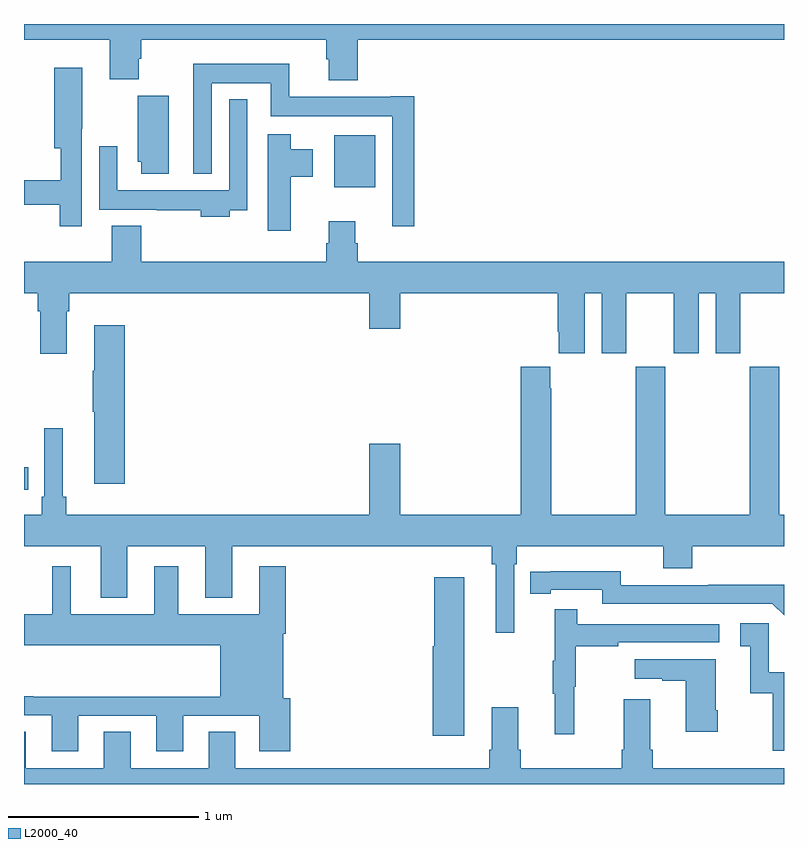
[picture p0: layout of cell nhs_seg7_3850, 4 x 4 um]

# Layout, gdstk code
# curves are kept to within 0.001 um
import gdstk
lib = gdstk.Library(unit=1e-6, precision=1e-09)
def R(c, l, rs):  # rectangles x0, y0, x1, y1
    for r in rs: c.add(gdstk.rectangle(r[:2], r[2:], *l))
def P(c, l, *ps):  # polygons
    for p in ps: c.add(gdstk.Polygon(p, *l))
L2000_40 = (2000, 40)

nhs_seg7_3850 = lib.new_cell('nhs_seg7_3850')
R(nhs_seg7_3850, L2000_40, [(355,1031.55,355.022,1031.666), (356.633,1033.142,356.848,1033.414)])
P(nhs_seg7_3850, L2000_40, [(356.756,1033.916),(359,1033.916),(359,1034),(355,1034),(355,1033.916),(355.451,1033.916),(355.451,1033.708),(355.603,1033.708),(355.603,1033.817),(355.616,1033.817),(355.616,1033.916),(356.591,1033.916),(356.591,1033.815),(356.603,1033.815),(356.603,1033.703),(356.756,1033.703)],
  [(357.053,1033.621),(356.93,1033.621),(356.93,1033.618),(356.396,1033.618),(356.396,1033.792),(355.892,1033.792),(355.892,1033.211),(355.989,1033.211),(355.989,1033.688),(356.298,1033.688),(356.298,1033.514),(356.937,1033.514),(356.937,1032.936),(357.053,1032.936)],
  [(355.305,1033.45),(355.306,1033.45),(355.306,1033.771),(355.16,1033.771),(355.16,1033.346),(355.193,1033.346),(355.193,1033.178),(355,1033.178),(355,1033.05),(355.189,1033.05),(355.189,1032.936),(355.305,1032.936)],
  [(355.762,1033.623),(355.598,1033.623),(355.598,1033.275),(355.616,1033.275),(355.616,1033.212),(355.762,1033.212)],
  [(356.083,1033.02),(356.175,1033.02),(356.175,1033.603),(356.079,1033.603),(356.079,1033.126),(355.491,1033.126),(355.491,1033.357),(355.395,1033.357),(355.395,1033.022),(355.699,1033.022),(355.699,1033.02),(355.931,1033.02),(355.931,1032.986),(356.083,1032.986)],
  [(356.404,1033.195),(356.521,1033.195),(356.521,1033.342),(356.404,1033.342),(356.404,1033.42),(356.282,1033.42),(356.282,1032.912),(356.404,1032.912)],
  [(355,1032.584),(355.073,1032.584),(355.073,1032.488),(355.085,1032.488),(355.085,1032.264),(355.225,1032.264),(355.225,1032.488),(355.238,1032.488),(355.238,1032.584),(356.816,1032.584),(356.816,1032.396),(356.98,1032.396),(356.98,1032.584),(357.809,1032.584),(357.809,1032.379),(357.815,1032.379),(357.815,1032.267),(357.952,1032.267),(357.952,1032.584),(358.04,1032.584),(358.04,1032.267),(358.171,1032.267),(358.171,1032.584),(358.421,1032.584),(358.421,1032.267),(358.552,1032.267),(358.552,1032.584),(358.64,1032.584),(358.64,1032.267),(358.771,1032.267),(358.771,1032.584),(359,1032.584),(359,1032.748),(356.756,1032.748),(356.756,1032.846),(356.743,1032.846),(356.743,1032.961),(356.603,1032.961),(356.603,1032.846),(356.591,1032.846),(356.591,1032.748),(355.616,1032.748),(355.616,1032.937),(355.463,1032.937),(355.463,1032.748),(355,1032.748)],
  [(355.529,1032.415),(355.37,1032.415),(355.37,1032.176),(355.363,1032.176),(355.363,1031.959),(355.37,1031.959),(355.37,1031.58),(355.529,1031.58)],
  [(357.579,1031.156),(357.593,1031.156),(357.593,1031.252),(358.364,1031.252),(358.364,1031.135),(358.517,1031.135),(358.517,1031.252),(359,1031.252),(359,1031.416),(358.974,1031.416),(358.974,1032.196),(358.819,1032.196),(358.819,1031.416),(358.374,1031.416),(358.374,1032.196),(358.219,1032.196),(358.219,1031.416),(357.774,1031.416),(357.774,1032.083),(357.769,1032.083),(357.769,1032.196),(357.614,1032.196),(357.614,1031.416),(356.98,1031.416),(356.98,1031.791),(356.816,1031.791),(356.816,1031.416),(355.223,1031.416),(355.223,1031.512),(355.204,1031.512),(355.204,1031.872),(355.107,1031.872),(355.107,1031.512),(355.094,1031.512),(355.094,1031.416),(355,1031.416),(355,1031.252),(355.403,1031.252),(355.403,1030.979),(355.543,1030.979),(355.543,1031.252),(355.955,1031.252),(355.955,1030.979),(356.095,1030.979),(356.095,1031.252),(357.463,1031.252),(357.463,1031.156),(357.482,1031.156),(357.482,1030.797),(357.579,1030.797)],
  [(355.285,1030.359),(355.697,1030.359),(355.697,1030.173),(355.837,1030.173),(355.837,1030.359),(356.237,1030.359),(356.237,1030.173),(356.402,1030.173),(356.402,1030.452),(356.365,1030.452),(356.365,1030.79),(356.378,1030.79),(356.378,1031.146),(356.237,1031.146),(356.237,1030.894),(355.813,1030.894),(355.813,1031.146),(355.685,1031.146),(355.685,1030.894),(355.246,1030.894),(355.246,1031.146),(355.148,1031.146),(355.148,1030.894),(355,1030.894),(355,1030.73),(356.033,1030.73),(356.033,1030.46),(355.049,1030.46),(355.049,1030.463),(355,1030.463),(355,1030.362),(355.145,1030.362),(355.145,1030.173),(355.285,1030.173)],
  [(359,1031.048),(358.6,1031.048),(358.6,1031.046),(358.14,1031.046),(358.14,1031.119),(357.664,1031.118),(357.664,1031.002),(357.772,1031.002),(357.772,1031.022),(358.044,1031.022),(358.044,1030.95),(358.938,1030.95),(359,1030.888)],
  [(357.316,1031.089),(357.158,1031.089),(357.158,1030.725),(357.152,1030.725),(357.152,1030.254),(357.316,1030.254)],
  [(357.896,1030.512),(357.904,1030.512),(357.904,1030.726),(358.127,1030.726),(358.127,1030.746),(358.66,1030.746),(358.66,1030.842),(357.911,1030.842),(357.911,1030.921),(357.794,1030.921),(357.794,1030.649),(357.783,1030.649),(357.783,1030.475),(357.794,1030.475),(357.794,1030.263),(357.896,1030.263)],
  [(359,1030.587),(358.92,1030.587),(358.92,1030.846),(358.77,1030.846),(358.77,1030.725),(358.823,1030.725),(358.823,1030.478),(358.941,1030.478),(358.941,1030.176),(359,1030.176)],
  [(358.65,1030.387),(358.642,1030.387),(358.642,1030.657),(358.215,1030.657),(358.215,1030.553),(358.358,1030.553),(358.358,1030.543),(358.484,1030.543),(358.484,1030.275),(358.65,1030.275)],
  [(359,1030.084),(358.31,1030.084),(358.31,1030.18),(358.297,1030.18),(358.297,1030.447),(358.157,1030.447),(358.157,1030.18),(358.145,1030.18),(358.145,1030.084),(357.614,1030.084),(357.614,1030.18),(357.601,1030.18),(357.601,1030.405),(357.461,1030.405),(357.461,1030.18),(357.449,1030.18),(357.449,1030.084),(356.113,1030.084),(356.113,1030.274),(355.973,1030.274),(355.973,1030.084),(355.561,1030.084),(355.561,1030.274),(355.421,1030.274),(355.421,1030.084),(355.009,1030.084),(355.009,1030.274),(355,1030.274),(355,1030),(359,1030)])

lib.write_gds('nhs_seg7_3850.gds')
